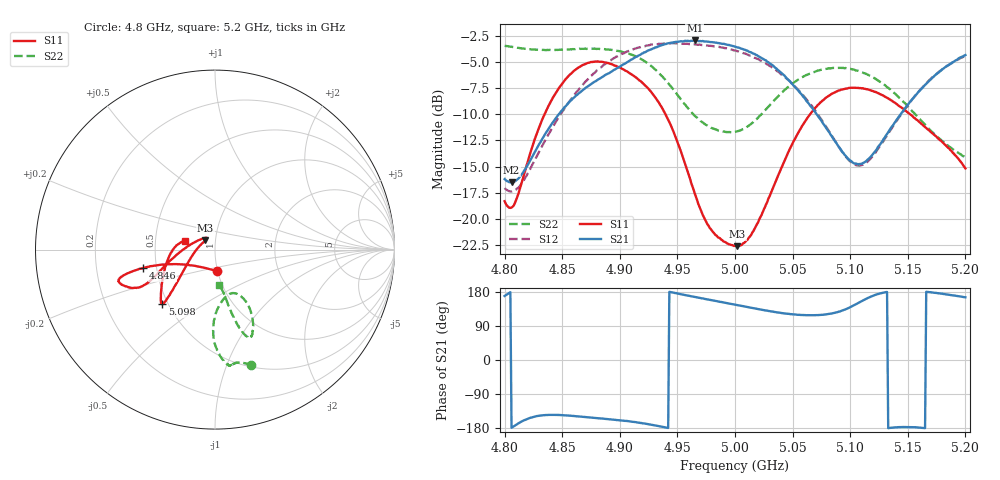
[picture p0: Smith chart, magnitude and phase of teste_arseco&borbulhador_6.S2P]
! Network Analyzer HP8722D
! Hewlett-Packard
! Data name: Linha & Wilkinson
! Saver's name: Rodrigo Anjos
! Comments: Teste da utilização de aquisição
! continua pelo VNA HP8722D
! Time and date: 15/4/2025 15:41
!  Frequency  S11  S21  S12  S22
# HZ  S  MA R 50
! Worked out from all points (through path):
!   401 points, 4.8 GHz to 5.2 GHz, reference 50 ohm
!   highest |S21| = -2.94 dB at 4.965 GHz (marker M1); lowest = -16.5 dB at 4.806 GHz (marker M2)
!   lowest |S11| = -22.6 dB at 5.002 GHz (marker M3), VSWR 1.16, Z = 44.7 + j4.65 ohm
!   |S11| at or under -10 dB: start of sweep to 4.835 GHz; 4.94 GHz to 5.065 GHz (125.6 MHz wide, 2.51 % of centre); 5.152 GHz to end of sweep
!   |S22| runs from -14.1 to -3.5 dB; largest |S21 - S12| = 0.82
!   S11 on the Smith chart (normalised r, x): 4.8 GHz: 0.99, -0.24; 4.846 GHz: 0.42, -0.10; 5.098 GHz: 0.47, -0.34; 5.2 GHz: 0.71, +0.07
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4.8e9  0.1214 -85.0  0.1549 168.9  0.1405 -136.3  0.6717 -72.4
4.806e9  0.1133 -110.1  0.1492 -178.9  0.1349 -124.0  0.665 -73.8
4.83e9  0.2741 -162.6  0.2277 -147.2  0.2095 -89.7  0.6434 -78.2
4.846e9  0.412 -165.6  0.3111 -145.0  0.3008 -85.0  0.6421 -80.1
4.867e9  0.5404 -163.9  0.4089 -149.6  0.4321 -87.4  0.6502 -81.9
4.883e9  0.5638 -161.1  0.4696 -154.2  0.5278 -92.5  0.6485 -83.1
4.901e9  0.5262 -156.4  0.5381 -159.3  0.6105 -99.6  0.6315 -85.0
4.934e9  0.3589 -156.6  0.669 -174.6  0.6873 -114.3  0.4967 -90.8
4.947e9  0.2578 -166.2  0.6991 177.5  0.6925 -120.2  0.4115 -91.0
4.965e9  0.1326 165.7  0.7126 166.2  0.683 -128.0  0.3109 -85.6
4.98e9  0.08773 132.9  0.6999 157.7  0.6707 -134.8  0.2715 -77.9
5e9  0.07425 132.6  0.6653 145.9  0.6391 -144.1  0.2603 -68.4
5.002e9  0.07403 135.7  0.6602 144.8  0.6327 -145.1  0.2624 -67.5
5.015e9  0.08602 163.9  0.6201 137.4  0.5967 -151.4  0.2876 -61.9
5.031e9  0.1322 -164.6  0.5497 128.4  0.5355 -158.2  0.3537 -59.2
5.05e9  0.2297 -143.8  0.4394 120.6  0.438 -164.2  0.4444 -61.8
5.067e9  0.3257 -136.3  0.339 118.2  0.345 -166.3  0.4987 -65.2
5.098e9  0.4207 -134.1  0.1946 136.5  0.1928 -146.4  0.5222 -69.2
5.113e9  0.4184 -136.0  0.1874 160.2  0.1841 -120.8  0.4963 -71.1
5.134e9  0.3725 -143.4  0.2645 -179.4  0.2604 -98.0  0.4187 -73.7
5.165e9  0.2749 -166.0  0.4371 -179.7  0.4389 -96.5  0.2819 -77.4
5.2e9  0.1742 164.0  0.6068 165.3  0.6022 -108.9  0.1971 -82.9
